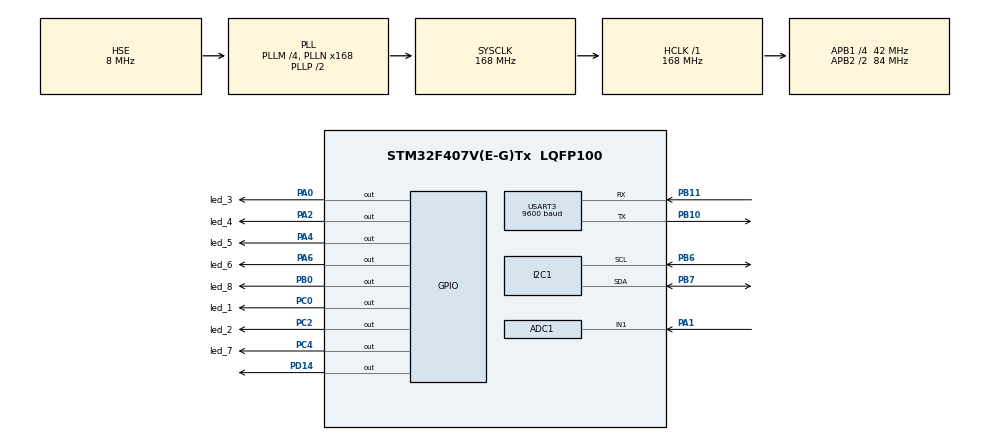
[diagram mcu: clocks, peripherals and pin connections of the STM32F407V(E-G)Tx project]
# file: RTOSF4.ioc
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ADC1.Channel-0\#ChannelRegularConversion=ADC_CHANNEL_1
ADC1.NbrOfConversionFlag=1
ADC1.Rank-0\#ChannelRegularConversion=1
ADC1.SamplingTime-0\#ChannelRegularConversion=ADC_SAMPLETIME_3CYCLES
ADC1.master=1
FREERTOS.Tasks01=Task1,0,128,StartTask1,Default,NULL,Dynamic,NULL,NULL;Task2,-3,128,StartTask2,Default,NULL,Dynamic,NULL,NULL;Task3,-3,128,StartTask3,Default,NULL,Dynamic,NULL,NULL
Mcu.Family=STM32F4
Mcu.Name=STM32F407V(E-G)Tx
Mcu.Package=LQFP100
NVIC.PriorityGroup=NVIC_PRIORITYGROUP_4
PA0-WKUP.GPIO_Label=led_3
PA0-WKUP.Signal=GPIO_Output
PA1.Signal=ADCx_IN1
PA13.Mode=Serial_Wire
PA13.Signal=SYS_JTMS-SWDIO
PA14.Mode=Serial_Wire
PA14.Signal=SYS_JTCK-SWCLK
PA2.GPIO_Label=led_4
PA2.Signal=GPIO_Output
PA4.GPIO_Label=led_5
PA4.Signal=GPIO_Output
PA6.GPIO_Label=led_6
PA6.Signal=GPIO_Output
PB0.GPIO_Label=led_8
PB0.Signal=GPIO_Output
PB10.Mode=Asynchronous
PB10.Signal=USART3_TX
PB11.Mode=Asynchronous
PB11.Signal=USART3_RX
PB6.Mode=I2C
PB6.Signal=I2C1_SCL
PB7.Mode=I2C
PB7.Signal=I2C1_SDA
PC0.GPIO_Label=led_1
PC0.Signal=GPIO_Output
PC2.GPIO_Label=led_2
PC2.Signal=GPIO_Output
PC4.GPIO_Label=led_7
PC4.Signal=GPIO_Output
PD14.Signal=GPIO_Output
PH0-OSC_IN.Mode=HSE-External-Oscillator
PH0-OSC_IN.Signal=RCC_OSC_IN
PH1-OSC_OUT.Mode=HSE-External-Oscillator
PH1-OSC_OUT.Signal=RCC_OSC_OUT
ProjectManager.HeapSize=0x200
ProjectManager.StackSize=0x400
ProjectManager.TargetToolchain=Makefile
RCC.48MHZClocksFreq_Value=84000000
RCC.AHBFreq_Value=168000000
RCC.APB1CLKDivider=RCC_HCLK_DIV4
RCC.APB1Freq_Value=42000000
RCC.APB1TimFreq_Value=84000000
RCC.APB2CLKDivider=RCC_HCLK_DIV2
RCC.APB2Freq_Value=84000000
RCC.APB2TimFreq_Value=168000000
RCC.CortexFreq_Value=168000000
RCC.HCLKFreq_Value=168000000
RCC.HSE_VALUE=8000000
RCC.HSI_VALUE=16000000
RCC.LSE_VALUE=32768
RCC.PLLM=4
RCC.PLLN=168
RCC.PLLSourceVirtual=RCC_PLLSOURCE_HSE
RCC.SYSCLKFreq_VALUE=168000000
RCC.SYSCLKSource=RCC_SYSCLKSOURCE_PLLCLK
RCC.VCOOutputFreq_Value=336000000
SH.ADCx_IN1.0=ADC1_IN1,IN1
USART3.BaudRate=9600
USART3.VirtualMode=VM_ASYNC
VP_FREERTOS_VS_CMSIS_V1.Mode=CMSIS_V1
board=custom

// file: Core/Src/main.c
/* USER CODE BEGIN Header */
/**
  ******************************************************************************
  * @file           : main.c
  * @brief          : Main program body
  ******************************************************************************
  * @attention
  *
  * Copyright (c) 2024 STMicroelectronics.
  * All rights reserved.
  *
  * This software is licensed under terms that can be found in the LICENSE file
  * in the root directory of this software component.
  * If no LICENSE file comes with this software, it is provided AS-IS.
  *
  ******************************************************************************
  */
/* USER CODE END Header */
#include "main.h"
#include "cmsis_os.h"

/* USER CODE BEGIN Includes */
#include "stdio.h"
#include "stdint.h"
#include "string.h"
/* USER CODE END Includes */

ADC_HandleTypeDef hadc1;

I2C_HandleTypeDef hi2c1;

UART_HandleTypeDef huart3;

osThreadId Task1Handle;
osThreadId Task2Handle;
osThreadId Task3Handle;

void SystemClock_Config(void);
static void MX_GPIO_Init(void);
static void MX_ADC1_Init(void);
static void MX_USART3_UART_Init(void);
static void MX_I2C1_Init(void);
void StartTask1(void const * argument);
void StartTask2(void const * argument);
void StartTask3(void const * argument);

int main(void)
{

  /* MCU Configuration--------------------------------------------------------*/

  /* Reset of all peripherals, Initializes the Flash interface and the Systick. */
  HAL_Init();

  /* Configure the system clock */
  SystemClock_Config();

  /* Initialize all configured peripherals */
  MX_GPIO_Init();
  MX_ADC1_Init();
  MX_USART3_UART_Init();
  MX_I2C1_Init();

  /* Create the thread(s) */
  /* definition and creation of Task1 */
  osThreadDef(Task1, StartTask1, osPriorityNormal, 0, 128);
  Task1Handle = osThreadCreate(osThread(Task1), NULL);

  /* definition and creation of Task2 */
  osThreadDef(Task2, StartTask2, osPriorityIdle, 0, 128);
  Task2Handle = osThreadCreate(osThread(Task2), NULL);

  /* definition and creation of Task3 */
  osThreadDef(Task3, StartTask3, osPriorityIdle, 0, 128);
  Task3Handle = osThreadCreate(osThread(Task3), NULL);

  /* Start scheduler */
  osKernelStart();

  /* We should never get here as control is now taken by the scheduler */
  /* Infinite loop */
  while (1)
  {

  }
}

void SystemClock_Config(void)
{
  RCC_OscInitTypeDef RCC_OscInitStruct = {0};
  RCC_ClkInitTypeDef RCC_ClkInitStruct = {0};

  /** Configure the main internal regulator output voltage
  */
  __HAL_RCC_PWR_CLK_ENABLE();
  __HAL_PWR_VOLTAGESCALING_CONFIG(PWR_REGULATOR_VOLTAGE_SCALE1);

  /** Initializes the RCC Oscillators according to the specified parameters
  * in the RCC_OscInitTypeDef structure.
  */
  RCC_OscInitStruct.OscillatorType = RCC_OSCILLATORTYPE_HSE;
  RCC_OscInitStruct.HSEState = RCC_HSE_ON;
  RCC_OscInitStruct.PLL.PLLState = RCC_PLL_ON;
  RCC_OscInitStruct.PLL.PLLSource = RCC_PLLSOURCE_HSE;
  RCC_OscInitStruct.PLL.PLLM = 4;
  RCC_OscInitStruct.PLL.PLLN = 168;
  RCC_OscInitStruct.PLL.PLLP = RCC_PLLP_DIV2;
  RCC_OscInitStruct.PLL.PLLQ = 4;
  if (HAL_RCC_OscConfig(&RCC_OscInitStruct) != HAL_OK)
  {
    Error_Handler();
  }

  /** Initializes the CPU, AHB and APB buses clocks
  */
  RCC_ClkInitStruct.ClockType = RCC_CLOCKTYPE_HCLK|RCC_CLOCKTYPE_SYSCLK
                              |RCC_CLOCKTYPE_PCLK1|RCC_CLOCKTYPE_PCLK2;
  RCC_ClkInitStruct.SYSCLKSource = RCC_SYSCLKSOURCE_PLLCLK;
  RCC_ClkInitStruct.AHBCLKDivider = RCC_SYSCLK_DIV1;
  RCC_ClkInitStruct.APB1CLKDivider = RCC_HCLK_DIV4;
  RCC_ClkInitStruct.APB2CLKDivider = RCC_HCLK_DIV2;

  if (HAL_RCC_ClockConfig(&RCC_ClkInitStruct, FLASH_LATENCY_5) != HAL_OK)
  {
    Error_Handler();
  }
}

static void MX_ADC1_Init(void)
{

  ADC_ChannelConfTypeDef sConfig = {0};

  /** Configure the global features of the ADC (Clock, Resolution, Data Alignment and number of conversion)
  */
  hadc1.Instance = ADC1;
  hadc1.Init.ClockPrescaler = ADC_CLOCK_SYNC_PCLK_DIV4;
  hadc1.Init.Resolution = ADC_RESOLUTION_12B;
  hadc1.Init.ScanConvMode = DISABLE;
  hadc1.Init.ContinuousConvMode = DISABLE;
  hadc1.Init.DiscontinuousConvMode = DISABLE;
  hadc1.Init.ExternalTrigConvEdge = ADC_EXTERNALTRIGCONVEDGE_NONE;
  hadc1.Init.ExternalTrigConv = ADC_SOFTWARE_START;
  hadc1.Init.DataAlign = ADC_DATAALIGN_RIGHT;
  hadc1.Init.NbrOfConversion = 1;
  hadc1.Init.DMAContinuousRequests = DISABLE;
  hadc1.Init.EOCSelection = ADC_EOC_SINGLE_CONV;
  if (HAL_ADC_Init(&hadc1) != HAL_OK)
  {
    Error_Handler();
  }

  /** Configure for the selected ADC regular channel its corresponding rank in the sequencer and its sample time.
  */
  sConfig.Channel = ADC_CHANNEL_1;
  sConfig.Rank = 1;
  sConfig.SamplingTime = ADC_SAMPLETIME_3CYCLES;
  if (HAL_ADC_ConfigChannel(&hadc1, &sConfig) != HAL_OK)
  {
    Error_Handler();
  }

}

static void MX_I2C1_Init(void)
{

  hi2c1.Instance = I2C1;
  hi2c1.Init.ClockSpeed = 100000;
  hi2c1.Init.DutyCycle = I2C_DUTYCYCLE_2;
  hi2c1.Init.OwnAddress1 = 0;
  hi2c1.Init.AddressingMode = I2C_ADDRESSINGMODE_7BIT;
  hi2c1.Init.DualAddressMode = I2C_DUALADDRESS_DISABLE;
  hi2c1.Init.OwnAddress2 = 0;
  hi2c1.Init.GeneralCallMode = I2C_GENERALCALL_DISABLE;
  hi2c1.Init.NoStretchMode = I2C_NOSTRETCH_DISABLE;
  if (HAL_I2C_Init(&hi2c1) != HAL_OK)
  {
    Error_Handler();
  }

}

static void MX_USART3_UART_Init(void)
{

  huart3.Instance = USART3;
  huart3.Init.BaudRate = 9600;
  huart3.Init.WordLength = UART_WORDLENGTH_8B;
  huart3.Init.StopBits = UART_STOPBITS_1;
  huart3.Init.Parity = UART_PARITY_NONE;
  huart3.Init.Mode = UART_MODE_TX_RX;
  huart3.Init.HwFlowCtl = UART_HWCONTROL_NONE;
  huart3.Init.OverSampling = UART_OVERSAMPLING_16;
  if (HAL_UART_Init(&huart3) != HAL_OK)
  {
    Error_Handler();
  }

}

static void MX_GPIO_Init(void)
{
  GPIO_InitTypeDef GPIO_InitStruct = {0};

  /* GPIO Ports Clock Enable */
  __HAL_RCC_GPIOH_CLK_ENABLE();
  __HAL_RCC_GPIOC_CLK_ENABLE();
  __HAL_RCC_GPIOA_CLK_ENABLE();
  __HAL_RCC_GPIOB_CLK_ENABLE();
  __HAL_RCC_GPIOD_CLK_ENABLE();

  /*Configure GPIO pin Output Level */
  HAL_GPIO_WritePin(GPIOC, led_1_Pin|led_2_Pin|led_7_Pin, GPIO_PIN_RESET);

  /*Configure GPIO pin Output Level */
  HAL_GPIO_WritePin(GPIOA, led_3_Pin|led_4_Pin|led_5_Pin|led_6_Pin, GPIO_PIN_RESET);

  /*Configure GPIO pin Output Level */
  HAL_GPIO_WritePin(led_8_GPIO_Port, led_8_Pin, GPIO_PIN_RESET);

  /*Configure GPIO pin Output Level */
  HAL_GPIO_WritePin(GPIOD, GPIO_PIN_14, GPIO_PIN_RESET);

  /*Configure GPIO pins : led_1_Pin led_2_Pin led_7_Pin */
  GPIO_InitStruct.Pin = led_1_Pin|led_2_Pin|led_7_Pin;
  GPIO_InitStruct.Mode = GPIO_MODE_OUTPUT_PP;
  GPIO_InitStruct.Pull = GPIO_NOPULL;
  GPIO_InitStruct.Speed = GPIO_SPEED_FREQ_LOW;
  HAL_GPIO_Init(GPIOC, &GPIO_InitStruct);

  /*Configure GPIO pins : led_3_Pin led_4_Pin led_5_Pin led_6_Pin */
  GPIO_InitStruct.Pin = led_3_Pin|led_4_Pin|led_5_Pin|led_6_Pin;
  GPIO_InitStruct.Mode = GPIO_MODE_OUTPUT_PP;
  GPIO_InitStruct.Pull = GPIO_NOPULL;
  GPIO_InitStruct.Speed = GPIO_SPEED_FREQ_LOW;
  HAL_GPIO_Init(GPIOA, &GPIO_InitStruct);

  /*Configure GPIO pin : led_8_Pin */
  GPIO_InitStruct.Pin = led_8_Pin;
  GPIO_InitStruct.Mode = GPIO_MODE_OUTPUT_PP;
  GPIO_InitStruct.Pull = GPIO_NOPULL;
  GPIO_InitStruct.Speed = GPIO_SPEED_FREQ_LOW;
  HAL_GPIO_Init(led_8_GPIO_Port, &GPIO_InitStruct);

  /*Configure GPIO pin : PD14 */
  GPIO_InitStruct.Pin = GPIO_PIN_14;
  GPIO_InitStruct.Mode = GPIO_MODE_OUTPUT_PP;
  GPIO_InitStruct.Pull = GPIO_NOPULL;
  GPIO_InitStruct.Speed = GPIO_SPEED_FREQ_LOW;
  HAL_GPIO_Init(GPIOD, &GPIO_InitStruct);

}

/* USER CODE BEGIN 4 */
const uint8_t DS1307_ADDRESS_WRITE =  0xD0;
const uint8_t DS1307_ADDRESS_READ =  0xD1;
const uint8_t LCD_ADDRESS = 0x4E;
uint8_t Dec_to_BCD(uint8_t dec) {
    return ((dec / 10) << 4) | (dec % 10);
}

uint8_t BCD_to_Dec(uint8_t bcd) {
    return ((bcd >> 4) * 10) + (bcd & 0x0F);
}
void DS1307_SetTime(uint8_t hours, uint8_t minutes, uint8_t seconds)
{
    uint8_t data[4];

	data[0] = 0x00;
    data[1] = Dec_to_BCD(seconds);
	data[2] = Dec_to_BCD(minutes);
    data[3] = Dec_to_BCD(hours);

	HAL_I2C_Master_Transmit(&hi2c1,DS1307_ADDRESS_WRITE , &data[0], 4, 100);

}

void DS1307_SetDate(uint8_t day, uint8_t month, uint16_t year)
{
    uint8_t data[4];

	data[0] = 0x04;
    data[1] = Dec_to_BCD(day);
    data[2] = Dec_to_BCD(month);
	data[3] = Dec_to_BCD(year);

	HAL_I2C_Master_Transmit(&hi2c1, DS1307_ADDRESS_WRITE , &data[0], 4, 100);
}

void DS1307_GetTime(uint8_t *hours, uint8_t *minutes, uint8_t *seconds)
{
    uint8_t data[3];
	uint8_t reg = 0x00;

	HAL_I2C_Master_Transmit(&hi2c1, DS1307_ADDRESS_WRITE , &reg, 1, 10);
	HAL_I2C_Master_Receive(&hi2c1, DS1307_ADDRESS_READ, &data[0], 3, 50);
    *seconds = BCD_to_Dec(data[0]);
	*minutes = BCD_to_Dec(data[1]);
    *hours   = BCD_to_Dec(data[2]);
}

void DS1307_GetDate(uint8_t *day, uint8_t *month, uint16_t *year)
{
    uint8_t data[3];
	uint8_t reg = 0x04;

	HAL_I2C_Master_Transmit(&hi2c1, DS1307_ADDRESS_WRITE,&reg, 1, 100);
	HAL_I2C_Master_Receive(&hi2c1, DS1307_ADDRESS_READ, &data[0], 3, 100);
    *day    = BCD_to_Dec(data[0]);
    *month  = BCD_to_Dec(data[1]);
    *year   = 2000 + BCD_to_Dec(data[2]);
}

void lcd_write_nibble(uint8_t rs, uint8_t data)
{
	uint8_t dat_lcd;

	dat_lcd = ((data << 4) & 0xF0) | 0x0C | rs;
	HAL_I2C_Master_Transmit(&hi2c1, LCD_ADDRESS, &dat_lcd, 1, 20);

	dat_lcd = ((data << 4) & 0xF0) | 0x08 | rs;
	HAL_I2C_Master_Transmit(&hi2c1, LCD_ADDRESS, &dat_lcd, 1, 20);

}

void lcd_send_cmd(uint8_t cmd)
{
	lcd_write_nibble(0, (cmd>>4)&0x0F);
	lcd_write_nibble(0, cmd&0x0F);

	HAL_Delay(2);
}

void lcd_send_data(uint8_t data)
{
	lcd_write_nibble(1, (data>>4)&0x0F);
	lcd_write_nibble(1, data & 0x0F);

	HAL_Delay(2);
}

void lcd_init(void)
{
	HAL_Delay(20);

	lcd_write_nibble(0, 0x03); HAL_Delay(5);
	lcd_write_nibble(0, 0x03); HAL_Delay(1);
	lcd_write_nibble(0, 0x03); HAL_Delay(1);

	lcd_write_nibble(0, 0x02); HAL_Delay(1);

	lcd_send_cmd(0x28);
	lcd_send_cmd(0x0C);
	lcd_send_cmd(0x01);
	lcd_send_cmd(0x06);
}

void lcd_send_string(char *data)
{
	while(*data)
	{

		lcd_send_data(*data++);
	}
}

void lcd_gotoxy(uint8_t row, uint8_t col)
{
	uint8_t coordinates = 0;

	switch(row)
	{
	case 0:
		coordinates = 0x80 | col;
		break;
	case 1:
		coordinates = 0xC0 | col;
		break;
	}
	lcd_send_cmd(coordinates);
}

void lcd_clear(void)
{
    lcd_send_cmd(0x01);
	HAL_Delay(2);
}
/* USER CODE END 4 */

void StartTask1(void const * argument)
{
  /* USER CODE BEGIN 5 */

GPIO_TypeDef* listport[] = {led_1_GPIO_Port, led_2_GPIO_Port, led_3_GPIO_Port, led_4_GPIO_Port,
		  led_5_GPIO_Port,led_6_GPIO_Port,led_7_GPIO_Port,led_8_GPIO_Port};

uint16_t listpin[] = {led_1_Pin, led_2_Pin, led_3_Pin, led_4_Pin, led_5_Pin, led_6_Pin,
		  led_7_Pin,led_8_Pin};
  /* Infinite loop */
  for(;;)
  {
	for(uint8_t count = 0; count < 256; count++)
	{
		for(int led = 0 ; led < 8; led++)
		{
			if(count & (1 << led))
			{
				HAL_GPIO_WritePin(listport[led], listpin[led],0);
			}else
			{
				HAL_GPIO_WritePin(listport[led], listpin[led],1);
			}
		}
		osDelay(1000);
 	 }
  }
  /* USER CODE END 5 */
}

void StartTask2(void const * argument)
{
  /* USER CODE BEGIN StartTask2 */
  /* Infinite loop */
  for(;;)
  {
	HAL_GPIO_WritePin(GPIOD,GPIO_PIN_14,1);
	osDelay(123);
	HAL_GPIO_WritePin(GPIOD,GPIO_PIN_14,0);
	osDelay(456);
  }
  /* USER CODE END StartTask2 */
}

void StartTask3(void const * argument)
{
  /* USER CODE BEGIN StartTask3 */

	uint8_t seconds;
	uint8_t minutes;
	uint8_t hours;
	uint8_t day;
	uint8_t month;
	uint16_t year;

	char data_to_display_lcd[100];
	lcd_init();
	lcd_clear();
	uint8_t time[3] = {20,2,0};
	uint8_t date[3] = {30,10,24};

	DS1307_SetTime(time[0],time[1],time[2]);
	DS1307_SetDate(date[0],date[1],date[2]);
  /* Infinite loop */
  for(;;)
  {
	DS1307_GetTime(&hours, &minutes, &seconds);
	DS1307_GetDate(&day, &month, &year);

	sprintf(data_to_display_lcd, "%02d:%02d:%02d-%02d/%02d",hours,minutes,seconds,day,month);

	lcd_gotoxy(0,0);
	lcd_send_string(data_to_display_lcd);

	  osDelay(1000);
  }
  /* USER CODE END StartTask3 */
}

void Error_Handler(void)
{
  __disable_irq();
  while (1)
  {
  }
}
